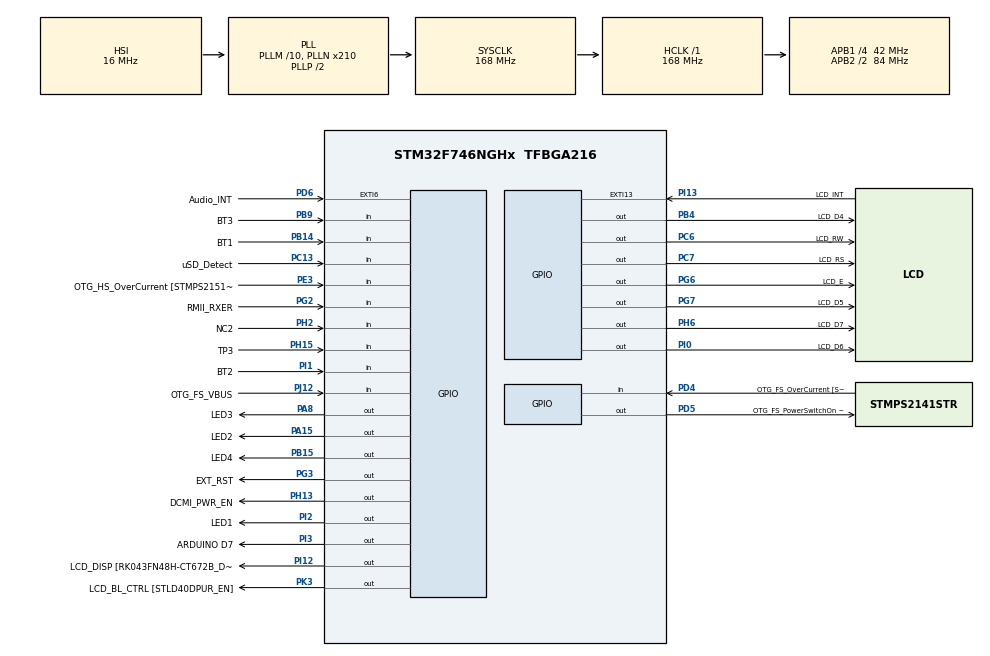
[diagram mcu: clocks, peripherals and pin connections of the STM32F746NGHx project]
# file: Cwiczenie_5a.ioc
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Mcu.Family=STM32F7
Mcu.Name=STM32F746NGHx
Mcu.Package=TFBGA216
NVIC.PriorityGroup=NVIC_PRIORITYGROUP_4
PA0/WKUP.GPIO_Label=ARDUINO A0
PA0/WKUP.GPIO_Mode=GPIO_MODE_ANALOG
PA0/WKUP.GPIO_PuPd=GPIO_NOPULL
PA0/WKUP.Signal=ADCx_IN0
PA1.GPIO_Label=RMII_REF_CLK [LAN8742A-CZ-TR_REFCLK0]
PA1.Signal=ETH_REF_CLK
PA10.GPIO_Label=OTG_FS_ID
PA10.Signal=USB_OTG_FS_ID
PA11.GPIO_Label=OTG_FS_N
PA11.Signal=USB_OTG_FS_DM
PA12.GPIO_Label=OTG_FS_P
PA12.Signal=USB_OTG_FS_DP
PA13.GPIO_Label=SWDIO
PA13.Signal=SYS_JTMS-SWDIO
PA14.GPIO_Label=SWCLK
PA14.Signal=SYS_JTCK-SWCLK
PA15.GPIO_Label=LED2
PA15.Signal=GPIO_Output
PA2.GPIO_Label=RMII_MDIO [LAN8742A-CZ-TR_MDIO]
PA2.Signal=ETH_MDIO
PA3.GPIO_Label=ULPI_D0 [USB3320C-EZK_D0]
PA3.Signal=USB_OTG_HS_ULPI_D0
PA4.GPIO_Label=DCMI_HSYNC
PA4.Signal=DCMI_HSYNC
PA5.GPIO_Label=ULPI_CLK [USB3320C-EZK_CLKOUT]
PA5.Signal=USB_OTG_HS_ULPI_CK
PA6.Signal=DCMI_PIXCLK
PA7.GPIO_Label=RMII_CRS_DV [LAN8742A-CZ-TR_CRS_DV]
PA7.Signal=ETH_CRS_DV
PA8.GPIO_Label=LED3
PA8.Signal=GPIO_Output
PA9.GPIO_Label=VCP_TX [STM32F103CBT6_PA3]
PA9.GPIO_Mode=GPIO_MODE_AF_PP
PA9.GPIO_PuPd=GPIO_NOPULL
PA9.GPIO_Speed=GPIO_SPEED_FREQ_LOW
PA9.Signal=USART1_TX
PB0.GPIO_Label=ULPI_D1 [USB3320C-EZK_D1]
PB0.Signal=USB_OTG_HS_ULPI_D1
PB1.GPIO_Label=ULPI_D2 [USB3320C-EZK_D2]
PB1.Signal=USB_OTG_HS_ULPI_D2
PB10.GPIO_Label=ULPI_D3 [USB3320C-EZK_D3]
PB10.Signal=USB_OTG_HS_ULPI_D3
PB11.GPIO_Label=ULPI_D4 [USB3320C-EZK_D4]
PB11.Signal=USB_OTG_HS_ULPI_D4
PB12.GPIO_Label=ULPI_D5 [USB3320C-EZK_D5]
PB12.Signal=USB_OTG_HS_ULPI_D5
PB13.GPIO_Label=ULPI_D6 [USB3320C-EZK_D6]
PB13.Signal=USB_OTG_HS_ULPI_D6
PB14.GPIO_Label=BT1
PB14.GPIO_PuPd=GPIO_PULLUP
PB14.Signal=GPIO_Input
PB15.GPIO_Label=LED4
PB15.Signal=GPIO_Output
PB2.Signal=QUADSPI_CLK
PB3.GPIO_Label=SWO
PB3.Signal=SYS_JTDO-SWO
PB4.GPIO_Label=LCD_D4
PB4.GPIO_Speed=GPIO_SPEED_FREQ_MEDIUM
PB4.Signal=GPIO_Output
PB5.GPIO_Label=ULPI_D7 [USB3320C-EZK_D7]
PB5.Signal=USB_OTG_HS_ULPI_D7
PB6.GPIO_Label=QSPI_NCS [N25Q128A13EF840E_S]
PB6.Signal=QUADSPI_BK1_NCS
PB7.GPIO_Label=VCP_RX [STM32F103CBT6_PA2]
PB7.GPIO_Mode=GPIO_MODE_AF_PP
PB7.GPIO_PuPd=GPIO_NOPULL
PB7.GPIO_Speed=GPIO_SPEED_FREQ_LOW
PB7.Signal=USART1_RX
PB9.GPIO_Label=BT3
PB9.GPIO_PuPd=GPIO_PULLUP
PB9.Signal=GPIO_Input
PC0.GPIO_Label=ULPI_STP [USB3320C-EZK_STP]
PC0.Signal=USB_OTG_HS_ULPI_STP
PC1.GPIO_Label=RMII_MDC [LAN8742A-CZ-TR_MDC]
PC1.Signal=ETH_MDC
PC10.GPIO_Label=SDMMC_D2
PC10.Signal=SDMMC1_D2
PC11.GPIO_Label=SDMMC_D3
PC11.Signal=SDMMC1_D3
PC12.GPIO_Label=SDMMC_CK
PC12.Signal=SDMMC1_CK
PC13.GPIO_Label=uSD_Detect
PC13.Signal=GPIO_Input
PC14/OSC32_IN.GPIO_Label=RCC_OSC32_IN
PC14/OSC32_IN.Signal=RCC_OSC32_IN
PC15/OSC32_OUT.GPIO_Label=RCC_OSC32_OUT
PC15/OSC32_OUT.Signal=RCC_OSC32_OUT
PC2.GPIO_Label=ULPI_DIR [USB3320C-EZK_DIR]
PC2.Signal=USB_OTG_HS_ULPI_DIR
PC3.GPIO_Label=FMC_SDCKE0 [MT48LC4M32B2B5-6A_CKE]
PC3.Signal=FMC_SDCKE0
PC4.GPIO_Label=RMII_RXD0 [LAN8742A-CZ-TR_RXD0]
PC4.Signal=ETH_RXD0
PC5.GPIO_Label=RMII_RXD1 [LAN8742A-CZ-TR_RXD1]
PC5.Signal=ETH_RXD1
PC6.GPIO_Label=LCD_RW
PC6.GPIO_Speed=GPIO_SPEED_FREQ_MEDIUM
PC6.Signal=GPIO_Output
PC7.GPIO_Label=LCD_RS
PC7.GPIO_Speed=GPIO_SPEED_FREQ_MEDIUM
PC7.Signal=GPIO_Output
PC8.Signal=SDMMC1_D0
PC9.Signal=SDMMC1_D1
PD0.GPIO_Label=FMC_D2 [MT48LC4M32B2B5-6A_DQ2]
PD0.Signal=FMC_D2_DA2
PD1.GPIO_Label=FMC_D3 [MT48LC4M32B2B5-6A_DQ3]
PD1.Signal=FMC_D3_DA3
PD10.GPIO_Label=FMC_D15 [MT48LC4M32B2B5-6A_DQ15]
PD10.Signal=FMC_D15_DA15
PD11.GPIO_Label=QSPI_D0 [N25Q128A13EF840E_DQ0]
PD11.Signal=QUADSPI_BK1_IO0
PD12.GPIO_Label=QSPI_D1 [N25Q128A13EF840E_DQ1]
PD12.Signal=QUADSPI_BK1_IO1
PD13.GPIO_Label=QSPI_D3 [N25Q128A13EF840E_DQ3]
PD13.Signal=QUADSPI_BK1_IO3
PD14.GPIO_Label=FMC_D0 [MT48LC4M32B2B5-6A_DQ0]
PD14.Signal=FMC_D0_DA0
PD15.GPIO_Label=FMC_D1 [MT48LC4M32B2B5-6A_DQ1]
PD15.Signal=FMC_D1_DA1
PD2.GPIO_Label=SDMMC_D0
PD2.Signal=SDMMC1_CMD
PD3.GPIO_Label=DCMI_D5
PD3.Signal=DCMI_D5
PD4.GPIO_Label=OTG_FS_OverCurrent [STMPS2141STR_Fault]
PD4.Signal=GPIO_Input
PD5.GPIO_Label=OTG_FS_PowerSwitchOn [STMPS2141STR_EN]
PD5.PinState=GPIO_PIN_SET
PD5.Signal=GPIO_Output
PD6.GPIO_Label=Audio_INT
PD6.GPIO_ModeDefaultEXTI=GPIO_MODE_EVT_RISING
PD6.Signal=GPXTI6
PD7.GPIO_Label=SPDIF_RX0 [74LVC1G04SE_4]
PD7.Signal=SPDIFRX_IN0
PD8.GPIO_Label=FMC_D13 [MT48LC4M32B2B5-6A_DQ13]
PD8.Signal=FMC_D13_DA13
PD9.GPIO_Label=FMC_D14 [MT48LC4M32B2B5-6A_DQ14]
PD9.Signal=FMC_D14_DA14
PE0.GPIO_Label=FMC_NBL0 [MT48LC4M32B2B5-6A_DQM0]
PE0.Signal=FMC_NBL0
PE1.GPIO_Label=FMC_NBL1 [MT48LC4M32B2B5-6A_DQM1]
PE1.Signal=FMC_NBL1
PE10.GPIO_Label=FMC_D7 [MT48LC4M32B2B5-6A_DQ7]
PE10.Signal=FMC_D7_DA7
PE11.GPIO_Label=FMC_D8 [MT48LC4M32B2B5-6A_DQ8]
PE11.Signal=FMC_D8_DA8
PE12.GPIO_Label=FMC_D9 [MT48LC4M32B2B5-6A_DQ9]
PE12.Signal=FMC_D9_DA9
PE13.GPIO_Label=FMC_D10 [MT48LC4M32B2B5-6A_DQ10]
PE13.Signal=FMC_D10_DA10
PE14.GPIO_Label=FMC_D11 [MT48LC4M32B2B5-6A_DQ11]
PE14.Signal=FMC_D11_DA11
PE15.GPIO_Label=FMC_D12 [MT48LC4M32B2B5-6A_DQ12]
PE15.Signal=FMC_D12_DA12
PE2.GPIO_Label=QSPI_D2 [N25Q128A13EF840E_DQ2]
PE2.Signal=QUADSPI_BK1_IO2
PE3.GPIO_Label=OTG_HS_OverCurrent [STMPS2151STR_FAULT]
PE3.Signal=GPIO_Input
PE4.GPIO_Label=LCD_B0 [RK043FN48H-CT672B_B0]
PE4.Signal=LTDC_B0
PE5.GPIO_Label=DCMI_D6
PE5.Signal=DCMI_D6
PE6.GPIO_Label=DCMI_D7
PE6.Signal=DCMI_D7
PE7.GPIO_Label=FMC_D4 [MT48LC4M32B2B5-6A_DQ4]
PE7.Signal=FMC_D4_DA4
PE8.GPIO_Label=FMC_D5 [MT48LC4M32B2B5-6A_DQ5]
PE8.Signal=FMC_D5_DA5
PE9.GPIO_Label=FMC_D6 [MT48LC4M32B2B5-6A_DQ6]
PE9.Signal=FMC_D6_DA6
PF0.GPIO_Label=FMC_A0 [MT48LC4M32B2B5-6A_A0]
PF0.Signal=FMC_A0
PF1.GPIO_Label=FMC_A1 [MT48LC4M32B2B5-6A_A1]
PF1.Signal=FMC_A1
PF10.GPIO_Label=ARDUINO A1
PF10.GPIO_Mode=GPIO_MODE_ANALOG
PF10.GPIO_PuPd=GPIO_NOPULL
PF10.Signal=ADC3_IN8
PF11.GPIO_Label=FMC_SDNRAS [MT48LC4M32B2B5-6A_RAS]
PF11.Signal=FMC_SDNRAS
PF12.GPIO_Label=FMC_A6 [MT48LC4M32B2B5-6A_A6]
PF12.Signal=FMC_A6
PF13.GPIO_Label=FMC_A7 [MT48LC4M32B2B5-6A_A7]
PF13.Signal=FMC_A7
PF14.GPIO_Label=FMC_A8 [MT48LC4M32B2B5-6A_A8]
PF14.Signal=FMC_A8
PF15.GPIO_Label=FMC_A9 [MT48LC4M32B2B5-6A_A9]
PF15.Signal=FMC_A9
PF2.GPIO_Label=FMC_A2 [MT48LC4M32B2B5-6A_A2]
PF2.Signal=FMC_A2
PF3.GPIO_Label=FMC_A3 [MT48LC4M32B2B5-6A_A3]
PF3.Signal=FMC_A3
PF4.GPIO_Label=FMC_A4 [MT48LC4M32B2B5-6A_A4]
PF4.Signal=FMC_A4
PF5.GPIO_Label=FMC_A5 [MT48LC4M32B2B5-6A_A5]
PF5.Signal=FMC_A5
PF6.GPIO_Label=ARDUINO A5
PF6.GPIO_Mode=GPIO_MODE_ANALOG
PF6.GPIO_PuPd=GPIO_NOPULL
PF6.Signal=ADC3_IN4
PF7.GPIO_Label=ARDUINO A4
PF7.GPIO_Mode=GPIO_MODE_ANALOG
PF7.GPIO_PuPd=GPIO_NOPULL
PF7.Signal=ADC3_IN5
PF8.GPIO_Label=ARDUINO A3
PF8.GPIO_Mode=GPIO_MODE_ANALOG
PF8.GPIO_PuPd=GPIO_NOPULL
PF8.Signal=ADC3_IN6
PF9.GPIO_Label=ARDUINO A2
PF9.GPIO_Mode=GPIO_MODE_ANALOG
PF9.GPIO_PuPd=GPIO_NOPULL
PF9.Signal=ADC3_IN7
PG0.GPIO_Label=FMC_A10 [MT48LC4M32B2B5-6A_A10]
PG0.Signal=FMC_A10
PG1.GPIO_Label=FMC_A11 [MT48LC4M32B2B5-6A_A11]
PG1.Signal=FMC_A11
PG10.GPIO_Label=SAI2_SDB [WM8994ECS/R_ADCDAT1]
PG10.Signal=SAI2_SD_B
PG11.GPIO_Label=RMII_TX_EN [LAN8742A-CZ-TR_TXEN]
PG11.Signal=ETH_TX_EN
PG12.GPIO_Label=LCD_B4 [RK043FN48H-CT672B_B4]
PG12.Signal=LTDC_B4
PG13.GPIO_Label=RMII_TXD0 [LAN8742A-CZ-TR_TXD0]
PG13.Signal=ETH_TXD0
PG14.GPIO_Label=RMII_TXD1 [LAN8742A-CZ-TR_TXD1]
PG14.Signal=ETH_TXD1
PG15.GPIO_Label=FMC_SDNCAS [MT48LC4M32B2B5-6A_CAS]
PG15.Signal=FMC_SDNCAS
PG2.GPIO_Label=RMII_RXER
PG2.Signal=GPIO_Input
PG3.GPIO_Label=EXT_RST
PG3.Signal=GPIO_Output
PG4.GPIO_Label=FMC_BA0 [MT48LC4M32B2B5-6A_BA0]
PG4.Signal=FMC_A14_BA0
PG5.GPIO_Label=FMC_BA1 [MT48LC4M32B2B5-6A_BA1]
PG5.Signal=FMC_A15_BA1
PG6.GPIO_Label=LCD_E
PG6.GPIO_Speed=GPIO_SPEED_FREQ_MEDIUM
PG6.Signal=GPIO_Output
PG7.GPIO_Label=LCD_D5
PG7.GPIO_Speed=GPIO_SPEED_FREQ_MEDIUM
PG7.Signal=GPIO_Output
PG8.GPIO_Label=FMC_SDCLK [MT48LC4M32B2B5-6A_CLK]
PG8.Signal=FMC_SDCLK
PG9.GPIO_Label=DCMI_VSYNC
PG9.Signal=DCMI_VSYNC
PH0/OSC_IN.GPIO_Label=OSC_25M [NZ2520SB-25.00M_OUT]
PH0/OSC_IN.Signal=RCC_OSC_IN
PH1/OSC_OUT.Signal=RCC_OSC_OUT
PH10.GPIO_Label=DCMI_D1
PH10.Signal=DCMI_D1
PH11.GPIO_Label=DCMI_D2
PH11.Signal=DCMI_D2
PH12.GPIO_Label=DCMI_D3
PH12.Signal=DCMI_D3
PH13.GPIO_Label=DCMI_PWR_EN
PH13.Signal=GPIO_Output
PH14.GPIO_Label=DCMI_D4
PH14.Signal=DCMI_D4
PH15.GPIO_Label=TP3
PH15.Signal=GPIO_Input
PH2.GPIO_Label=NC2
PH2.Signal=GPIO_Input
PH3.GPIO_Label=FMC_SDNE0 [MT48LC4M32B2B5-6A_CS]
PH3.Signal=FMC_SDNE0
PH4.GPIO_Label=ULPI_NXT [USB3320C-EZK_NXT]
PH4.Signal=USB_OTG_HS_ULPI_NXT
PH5.GPIO_Label=FMC_SDNME [MT48LC4M32B2B5-6A_WE]
PH5.Signal=FMC_SDNWE
PH6.GPIO_Label=LCD_D7
PH6.GPIO_Speed=GPIO_SPEED_FREQ_MEDIUM
PH6.Signal=GPIO_Output
PH7.GPIO_Label=LCD_SCL [RK043FN48H-CT672B_SCL]
PH7.Signal=I2C3_SCL
PH8.GPIO_Label=LCD_SDA [RK043FN48H-CT672B_SDA]
PH8.Signal=I2C3_SDA
PH9.GPIO_Label=DCMI_D0
PH9.Signal=DCMI_D0
PI0.GPIO_Label=LCD_D6
PI0.GPIO_Speed=GPIO_SPEED_FREQ_MEDIUM
PI0.Signal=GPIO_Output
PI1.GPIO_Label=BT2
PI1.GPIO_PuPd=GPIO_PULLUP
PI1.Signal=GPIO_Input
PI10.GPIO_Label=LCD_HSYNC [RK043FN48H-CT672B_HSYNC]
PI10.Signal=LTDC_HSYNC
PI12.GPIO_Label=LCD_DISP [RK043FN48H-CT672B_DISP] 
PI12.Signal=GPIO_Output
PI13.GPIO_Label=LCD_INT
PI13.GPIO_ModeDefaultEXTI=GPIO_MODE_EVT_RISING
PI13.Signal=GPXTI13
PI14.GPIO_Label=LCD_CLK [RK043FN48H-CT672B_CLK]
PI14.Signal=LTDC_CLK
PI15.GPIO_Label=LCD_R0 [RK043FN48H-CT672B_R0]
PI15.Signal=LTDC_R0
PI2.GPIO_Label=LED1
PI2.Signal=GPIO_Output
PI3.GPIO_Label=ARDUINO D7
PI3.Signal=GPIO_Output
PI4.GPIO_Label=SAI2_MCLKA [WM8994ECS/R_MCLK1]
PI4.Signal=SAI2_MCLK_A
PI5.GPIO_Label=SAI2_SCKA [WM8994ECS/R_BCLK1]
PI5.Signal=SAI2_SCK_A
PI6.GPIO_Label=SAI2_SDA [WM8994ECS/R_DACDAT1]
PI6.Signal=SAI2_SD_A
PI7.GPIO_Label=SAI2_FSA [WM8994ECS/R_LRCLK1]
PI7.Signal=SAI2_FS_A
PI8.GPIO_Label=NC1 [TP2]
PI8.Signal=RTC_TS
PI9.GPIO_Label=LCD_VSYNC [RK043FN48H-CT672B_VSYNC]
PI9.Signal=LTDC_VSYNC
PJ0.GPIO_Label=LCD_R1 [RK043FN48H-CT672B_R1]
PJ0.Signal=LTDC_R1
PJ1.GPIO_Label=LCD_R2 [RK043FN48H-CT672B_R2]
PJ1.Signal=LTDC_R2
PJ10.GPIO_Label=LCD_G3 [RK043FN48H-CT672B_G3]
PJ10.Signal=LTDC_G3
PJ11.GPIO_Label=LCD_G4 [RK043FN48H-CT672B_G4]
PJ11.Signal=LTDC_G4
PJ12.GPIO_Label=OTG_FS_VBUS
PJ12.Signal=GPIO_Input
PJ13.GPIO_Label=LCD_B1 [RK043FN48H-CT672B_B1]
PJ13.Signal=LTDC_B1
PJ14.GPIO_Label=LCD_B2 [RK043FN48H-CT672B_B2]
PJ14.Signal=LTDC_B2
PJ15.GPIO_Label=LCD_B3 [RK043FN48H-CT672B_B3]
PJ15.Signal=LTDC_B3
PJ2.GPIO_Label=LCD_R3 [RK043FN48H-CT672B_R3]
PJ2.Signal=LTDC_R3
PJ3.GPIO_Label=LCD_R4 [RK043FN48H-CT672B_R4]
PJ3.Signal=LTDC_R4
PJ4.GPIO_Label=LCD_R5 [RK043FN48H-CT672B_R5]
PJ4.Signal=LTDC_R5
PJ5.GPIO_Label=LCD_R6 [RK043FN48H-CT672B_R6]
PJ5.Signal=LTDC_R6
PJ6.GPIO_Label=LCD_R7 [RK043FN48H-CT672B_R7]
PJ6.Signal=LTDC_R7
PJ7.GPIO_Label=LCD_G0 [RK043FN48H-CT672B_G0]
PJ7.Signal=LTDC_G0
PJ8.GPIO_Label=LCD_G1 [RK043FN48H-CT672B_G1]
PJ8.Signal=LTDC_G1
PJ9.GPIO_Label=LCD_G2 [RK043FN48H-CT672B_G2]
PJ9.Signal=LTDC_G2
PK0.GPIO_Label=LCD_G5 [RK043FN48H-CT672B_G5]
PK0.Signal=LTDC_G5
PK1.GPIO_Label=LCD_G6 [RK043FN48H-CT672B_G6]
PK1.Signal=LTDC_G6
PK2.GPIO_Label=LCD_G7 [RK043FN48H-CT672B_G7]
PK2.Signal=LTDC_G7
PK3.GPIO_Label=LCD_BL_CTRL [STLD40DPUR_EN]
PK3.Signal=GPIO_Output
PK4.GPIO_Label=LCD_B5 [RK043FN48H-CT672B_B5]
PK4.Signal=LTDC_B5
PK5.GPIO_Label=LCD_B6 [RK043FN48H-CT672B_B6]
PK5.Signal=LTDC_B6
PK6.GPIO_Label=LCD_B7 [RK043FN48H-CT672B_B7]
PK6.Signal=LTDC_B7
PK7.GPIO_Label=LCD_DE [RK043FN48H-CT672B_DE]
PK7.Signal=LTDC_DE
ProjectManager.HeapSize=0x200
ProjectManager.StackSize=0x400
ProjectManager.TargetToolchain=STM32CubeIDE
RCC.AHBFreq_Value=168000000
RCC.APB1CLKDivider=RCC_HCLK_DIV4
RCC.APB1Freq_Value=42000000
RCC.APB1TimFreq_Value=84000000
RCC.APB2CLKDivider=RCC_HCLK_DIV2
RCC.APB2Freq_Value=84000000
RCC.APB2TimFreq_Value=168000000
RCC.CortexFreq_Value=168000000
RCC.HCLKFreq_Value=168000000
RCC.HSE_VALUE=25000000
RCC.HSI_VALUE=16000000
RCC.LSE_VALUE=32768
RCC.PLLM=10
RCC.PLLN=210
RCC.PLLSourceVirtual=RCC_PLLSOURCE_HSI
RCC.SYSCLKFreq_VALUE=168000000
RCC.SYSCLKSource=RCC_SYSCLKSOURCE_PLLCLK
RCC.USBFreq_Value=168000000
RCC.VCOOutputFreq_Value=336000000
SH.ADCx_IN0.0=ADC3_IN0
SH.FMC_A0.0=FMC_A0
SH.FMC_A1.0=FMC_A1
SH.FMC_A10.0=FMC_A10
SH.FMC_A11.0=FMC_A11
SH.FMC_A14_BA0.0=FMC_BA0
SH.FMC_A15_BA1.0=FMC_BA1
SH.FMC_A2.0=FMC_A2
SH.FMC_A3.0=FMC_A3
SH.FMC_A4.0=FMC_A4
SH.FMC_A5.0=FMC_A5
SH.FMC_A6.0=FMC_A6
SH.FMC_A7.0=FMC_A7
SH.FMC_A8.0=FMC_A8
SH.FMC_A9.0=FMC_A9
SH.FMC_D0_DA0.0=FMC_D0
SH.FMC_D10_DA10.0=FMC_D10
SH.FMC_D11_DA11.0=FMC_D11
SH.FMC_D12_DA12.0=FMC_D12
SH.FMC_D13_DA13.0=FMC_D13
SH.FMC_D14_DA14.0=FMC_D14
SH.FMC_D15_DA15.0=FMC_D15
SH.FMC_D1_DA1.0=FMC_D1
SH.FMC_D2_DA2.0=FMC_D2
SH.FMC_D3_DA3.0=FMC_D3
SH.FMC_D4_DA4.0=FMC_D4
SH.FMC_D5_DA5.0=FMC_D5
SH.FMC_D6_DA6.0=FMC_D6
SH.FMC_D7_DA7.0=FMC_D7
SH.FMC_D8_DA8.0=FMC_D8
SH.FMC_D9_DA9.0=FMC_D9
SH.FMC_NBL0.0=FMC_NBL0
SH.FMC_NBL1.0=FMC_NBL1
SH.FMC_SDCLK.0=FMC_SDCLK
SH.FMC_SDNCAS.0=FMC_SDNCAS
SH.FMC_SDNRAS.0=FMC_SDNRAS
SH.FMC_SDNWE.0=FMC_SDNWE
board=STM32F746G-DISCO

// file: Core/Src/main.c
/* USER CODE BEGIN Header */
/**
  ******************************************************************************
  * @file           : main.c
  * @brief          : Main program body
  ******************************************************************************
  * @attention
  *
  * Copyright (c) 2022 STMicroelectronics.
  * All rights reserved.
  *
  * This software is licensed under terms that can be found in the LICENSE file
  * in the root directory of this software component.
  * If no LICENSE file comes with this software, it is provided AS-IS.
  *
  ******************************************************************************
  */
/* USER CODE END Header */
#include "main.h"
#include "gpio.h"

/* USER CODE BEGIN Includes */
#include "lcd.h"
#include "stdbool.h"
/* USER CODE END Includes */

/* USER CODE BEGIN PV */
unsigned char pozycja = 1;
char * menu[9] = {"Dioda 1  ","Dioda 2  ","Dioda 3  ","Dioda 4  ","Bat.   0%","Bat.  50%","Bat. 100%","Klepsydra",""};
bool odswiezLCD = true;

const char znakiDodatkowe[32] =
{
0x04,0x1F,0x11,0x11,0x11,0x11,0x1F,0, //bateria pusta
0x04,0x1F,0x11,0x11,0x1F,0x1F,0x1F,0, //bateria 50%
0x04,0x1F,0x1F,0x1F,0x1F,0x1F,0x1F,0, //bateria pelna
0x1F,0x0A,0x0A,0x04,0x0E,0x0E,0x1F,0 //klepsydra
};
/* USER CODE END PV */

void SystemClock_Config(void);
/* USER CODE BEGIN PFP */
void Opcja1();
void Opcja2();
void Opcja3();
void Opcja4();
void Opcja5();
void Opcja6();
void Opcja7();
void Opcja8();

/* USER CODE END PFP */

int main(void)
{

  /* MCU Configuration--------------------------------------------------------*/

  /* Reset of all peripherals, Initializes the Flash interface and the Systick. */
  HAL_Init();

  /* Configure the system clock */
  SystemClock_Config();

  /* Initialize all configured peripherals */
  MX_GPIO_Init();

  /* Infinite loop */
  /* USER CODE BEGIN WHILE */
  LCD_Initialize();                         //inicjalizacja wysietlacza
  LCD_SetUserChar(1, 4, znakiDodatkowe);
  LCD_WriteCommand(HD44780_CLEAR);          //wyczyszczenie wyświetlacza
  LCD_WriteText("[ \0");
  LCD_WriteText(menu[pozycja-1]);
  LCD_WriteText(" ]\0");
  LCD_WriteTextXY(menu[pozycja],2,1);
  while (1)
  {
    /* USER CODE END WHILE */

    /* USER CODE BEGIN 3 */
	  if(!HAL_GPIO_ReadPin(BT1_GPIO_Port, BT1_Pin) && (pozycja<8))
	  {
		  pozycja++;
		  odswiezLCD = true;
	  }
	  if(!HAL_GPIO_ReadPin(BT2_GPIO_Port, BT2_Pin) && (pozycja>1))
	  {
		  pozycja--;
		  odswiezLCD = true;
	  }
	  if(odswiezLCD)
	  {
		  LCD_WriteCommand(HD44780_CLEAR);          //wyczyszczenie wyświetlacza
		  LCD_WriteText("[ \0");
		  LCD_WriteText(menu[pozycja-1]);
		  LCD_WriteText(" ]\0");
		  LCD_WriteTextXY(menu[pozycja],2,1);
		  odswiezLCD = false;
	  }
	  if(!HAL_GPIO_ReadPin(BT3_GPIO_Port, BT3_Pin))
	  {
		  switch (pozycja)
		  {
		  case 1: Opcja1(); break;
		  case 2: Opcja2(); break;
		  case 3: Opcja3(); break;
		  case 4: Opcja4(); break;
		  case 5: Opcja5(); break;
		  case 6: Opcja6(); break;
		  case 7: Opcja7(); break;
		  case 8: Opcja8(); break;
		  default: Opcja1(); break;
		  }
	  }
	  HAL_Delay(150);

  }
  /* USER CODE END 3 */
}

void SystemClock_Config(void)
{
  RCC_OscInitTypeDef RCC_OscInitStruct = {0};
  RCC_ClkInitTypeDef RCC_ClkInitStruct = {0};

  /** Configure the main internal regulator output voltage
  */
  __HAL_RCC_PWR_CLK_ENABLE();
  __HAL_PWR_VOLTAGESCALING_CONFIG(PWR_REGULATOR_VOLTAGE_SCALE2);

  /** Initializes the RCC Oscillators according to the specified parameters
  * in the RCC_OscInitTypeDef structure.
  */
  RCC_OscInitStruct.OscillatorType = RCC_OSCILLATORTYPE_HSI;
  RCC_OscInitStruct.HSIState = RCC_HSI_ON;
  RCC_OscInitStruct.HSICalibrationValue = RCC_HSICALIBRATION_DEFAULT;
  RCC_OscInitStruct.PLL.PLLState = RCC_PLL_ON;
  RCC_OscInitStruct.PLL.PLLSource = RCC_PLLSOURCE_HSI;
  RCC_OscInitStruct.PLL.PLLM = 10;
  RCC_OscInitStruct.PLL.PLLN = 210;
  RCC_OscInitStruct.PLL.PLLP = RCC_PLLP_DIV2;
  RCC_OscInitStruct.PLL.PLLQ = 2;
  if (HAL_RCC_OscConfig(&RCC_OscInitStruct) != HAL_OK)
  {
    Error_Handler();
  }

  /** Initializes the CPU, AHB and APB buses clocks
  */
  RCC_ClkInitStruct.ClockType = RCC_CLOCKTYPE_HCLK|RCC_CLOCKTYPE_SYSCLK
                              |RCC_CLOCKTYPE_PCLK1|RCC_CLOCKTYPE_PCLK2;
  RCC_ClkInitStruct.SYSCLKSource = RCC_SYSCLKSOURCE_PLLCLK;
  RCC_ClkInitStruct.AHBCLKDivider = RCC_SYSCLK_DIV1;
  RCC_ClkInitStruct.APB1CLKDivider = RCC_HCLK_DIV4;
  RCC_ClkInitStruct.APB2CLKDivider = RCC_HCLK_DIV2;

  if (HAL_RCC_ClockConfig(&RCC_ClkInitStruct, FLASH_LATENCY_5) != HAL_OK)
  {
    Error_Handler();
  }
}

/* USER CODE BEGIN 4 */
void Opcja1()
{
	HAL_GPIO_TogglePin(LED1_GPIO_Port, LED1_Pin);
}
void Opcja2()
{
	HAL_GPIO_TogglePin(LED2_GPIO_Port, LED2_Pin);
}
void Opcja3()
{
	HAL_GPIO_TogglePin(LED3_GPIO_Port, LED3_Pin);
}
void Opcja4()
{
	HAL_GPIO_TogglePin(LED4_GPIO_Port, LED4_Pin);
}
void Opcja5()
{
	char znak = 1;
	LCD_WriteTextXY(&znak, 15,0);
}
void Opcja6()
{
	char znak = 2;
	LCD_WriteTextXY(&znak, 15,0);
}
void Opcja7()
{
	char znak = 3;
	LCD_WriteTextXY(&znak, 15,0);
}
void Opcja8()
{
	char znak = 4;
	LCD_WriteTextXY(&znak, 15,0);
}
/* USER CODE END 4 */

void Error_Handler(void)
{
  __disable_irq();
  while (1)
  {
  }
}
